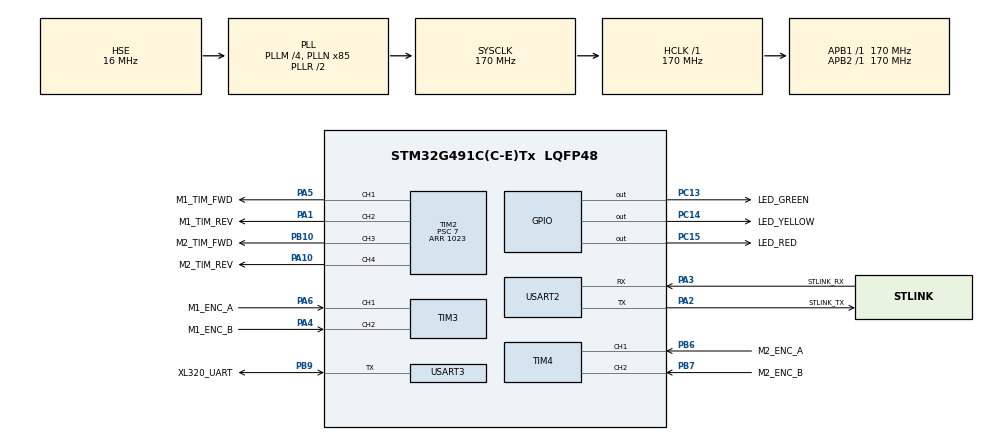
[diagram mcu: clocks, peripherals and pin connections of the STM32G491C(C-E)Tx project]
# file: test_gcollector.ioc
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Dma.Request0=USART3_TX
Dma.Request1=USART3_RX
Dma.USART3_RX.1.Direction=DMA_PERIPH_TO_MEMORY
Dma.USART3_RX.1.EventEnable=DISABLE
Dma.USART3_RX.1.Instance=DMA1_Channel2
Dma.USART3_RX.1.MemDataAlignment=DMA_MDATAALIGN_BYTE
Dma.USART3_RX.1.MemInc=DMA_MINC_ENABLE
Dma.USART3_RX.1.Mode=DMA_NORMAL
Dma.USART3_RX.1.PeriphDataAlignment=DMA_PDATAALIGN_BYTE
Dma.USART3_RX.1.PeriphInc=DMA_PINC_DISABLE
Dma.USART3_RX.1.Polarity=HAL_DMAMUX_REQ_GEN_RISING
Dma.USART3_RX.1.Priority=DMA_PRIORITY_LOW
Dma.USART3_RX.1.RequestNumber=1
Dma.USART3_RX.1.SignalID=NONE
Dma.USART3_RX.1.SyncEnable=DISABLE
Dma.USART3_RX.1.SyncPolarity=HAL_DMAMUX_SYNC_NO_EVENT
Dma.USART3_RX.1.SyncRequestNumber=1
Dma.USART3_RX.1.SyncSignalID=NONE
Dma.USART3_TX.0.Direction=DMA_MEMORY_TO_PERIPH
Dma.USART3_TX.0.EventEnable=DISABLE
Dma.USART3_TX.0.Instance=DMA1_Channel1
Dma.USART3_TX.0.MemDataAlignment=DMA_MDATAALIGN_BYTE
Dma.USART3_TX.0.MemInc=DMA_MINC_ENABLE
Dma.USART3_TX.0.Mode=DMA_NORMAL
Dma.USART3_TX.0.PeriphDataAlignment=DMA_PDATAALIGN_BYTE
Dma.USART3_TX.0.PeriphInc=DMA_PINC_DISABLE
Dma.USART3_TX.0.Polarity=HAL_DMAMUX_REQ_GEN_RISING
Dma.USART3_TX.0.Priority=DMA_PRIORITY_LOW
Dma.USART3_TX.0.RequestNumber=1
Dma.USART3_TX.0.SignalID=NONE
Dma.USART3_TX.0.SyncEnable=DISABLE
Dma.USART3_TX.0.SyncPolarity=HAL_DMAMUX_SYNC_NO_EVENT
Dma.USART3_TX.0.SyncRequestNumber=1
Dma.USART3_TX.0.SyncSignalID=NONE
FREERTOS.Tasks01=xl320,24,128,start_xl320_task,Default,NULL,Dynamic,NULL,NULL;shell,8,512,start_shell_task,Default,NULL,Dynamic,NULL,NULL;motors,8,128,start_motor_task,Default,NULL,Dynamic,NULL,NULL;qei,8,512,start_qei_task,Default,NULL,Dynamic,NULL,NULL
FREERTOS.configTOTAL_HEAP_SIZE=10240
Mcu.Family=STM32G4
Mcu.Name=STM32G491C(C-E)Tx
Mcu.Package=LQFP48
NVIC.DMA1_Channel1_IRQn=true\:5\:0\:false\:false\:true\:true\:false\:true\:true
NVIC.DMA1_Channel2_IRQn=true\:5\:0\:false\:false\:true\:true\:false\:true\:true
NVIC.PriorityGroup=NVIC_PRIORITYGROUP_4
NVIC.USART3_IRQn=true\:5\:0\:false\:false\:true\:true\:true\:true\:true
PA1.GPIO_Label=M1_TIM_REV
PA1.Signal=S_TIM2_CH2
PA10.GPIO_Label=M2_TIM_REV
PA10.Signal=S_TIM2_CH4
PA13.Mode=Trace_Asynchronous_SW
PA13.Signal=SYS_JTMS-SWDIO
PA14.Mode=Trace_Asynchronous_SW
PA14.Signal=SYS_JTCK-SWCLK
PA2.GPIO_Label=STLINK_TX
PA2.Mode=Asynchronous
PA2.Signal=USART2_TX
PA3.GPIO_Label=STLINK_RX
PA3.Mode=Asynchronous
PA3.Signal=USART2_RX
PA4.GPIO_Label=M1_ENC_B
PA4.Signal=S_TIM3_CH2
PA5.GPIO_Label=M1_TIM_FWD
PA5.Signal=S_TIM2_CH1
PA6.GPIO_Label=M1_ENC_A
PA6.Signal=S_TIM3_CH1
PB10.GPIO_Label=M2_TIM_FWD
PB10.Signal=S_TIM2_CH3
PB3.Mode=Trace_Asynchronous_SW
PB3.Signal=SYS_JTDO-SWO
PB6.GPIO_Label=M2_ENC_A
PB6.Signal=S_TIM4_CH1
PB7.GPIO_Label=M2_ENC_B
PB7.Signal=S_TIM4_CH2
PB9.GPIO_Label=XL320_UART
PB9.GPIO_ModeDefaultOD=GPIO_MODE_AF_PP
PB9.GPIO_Speed=GPIO_SPEED_FREQ_VERY_HIGH
PB9.Mode=Half_duplex(single_wire_mode)
PB9.Signal=USART3_TX
PC13.GPIO_Label=LED_GREEN
PC13.Signal=GPIO_Output
PC14-OSC32_IN.GPIO_Label=LED_YELLOW
PC14-OSC32_IN.Signal=GPIO_Output
PC15-OSC32_OUT.GPIO_Label=LED_RED
PC15-OSC32_OUT.Signal=GPIO_Output
PF0-OSC_IN.Mode=HSE-External-Oscillator
PF0-OSC_IN.Signal=RCC_OSC_IN
PF1-OSC_OUT.Mode=HSE-External-Oscillator
PF1-OSC_OUT.Signal=RCC_OSC_OUT
ProjectManager.HeapSize=0x200
ProjectManager.StackSize=0x400
ProjectManager.TargetToolchain=STM32CubeIDE
RCC.ADC12Freq_Value=170000000
RCC.ADC345Freq_Value=170000000
RCC.AHBFreq_Value=170000000
RCC.APB1Freq_Value=170000000
RCC.APB1TimFreq_Value=170000000
RCC.APB2Freq_Value=170000000
RCC.APB2TimFreq_Value=170000000
RCC.CortexFreq_Value=170000000
RCC.EXTERNAL_CLOCK_VALUE=12288000
RCC.HCLKFreq_Value=170000000
RCC.HSE_VALUE=16000000
RCC.HSI48_VALUE=48000000
RCC.HSI_VALUE=16000000
RCC.LSE_VALUE=32768
RCC.PLLM=RCC_PLLM_DIV4
RCC.PLLN=85
RCC.PLLSourceVirtual=RCC_PLLSOURCE_HSE
RCC.SYSCLKFreq_VALUE=170000000
RCC.SYSCLKSource=RCC_SYSCLKSOURCE_PLLCLK
RCC.USBFreq_Value=48000000
RCC.VCOOutputFreq_Value=340000000
SH.S_TIM2_CH1.0=TIM2_CH1,PWM Generation1 CH1
SH.S_TIM2_CH2.0=TIM2_CH2,PWM Generation2 CH2
SH.S_TIM2_CH3.0=TIM2_CH3,PWM Generation3 CH3
SH.S_TIM2_CH4.0=TIM2_CH4,PWM Generation4 CH4
SH.S_TIM3_CH1.0=TIM3_CH1,Encoder_Interface
SH.S_TIM3_CH2.0=TIM3_CH2,Encoder_Interface
SH.S_TIM4_CH1.0=TIM4_CH1,Encoder_Interface
SH.S_TIM4_CH2.0=TIM4_CH2,Encoder_Interface
TIM2.Channel-PWM\ Generation1\ CH1=TIM_CHANNEL_1
TIM2.Channel-PWM\ Generation2\ CH2=TIM_CHANNEL_2
TIM2.Channel-PWM\ Generation3\ CH3=TIM_CHANNEL_3
TIM2.Channel-PWM\ Generation4\ CH4=TIM_CHANNEL_4
TIM2.PeriodNoDither=1023
TIM2.Prescaler=7
USART2.VirtualMode-Asynchronous=VM_ASYNC
USART3.BaudRate=1000000
USART3.VirtualMode-Half_duplex(single_wire_mode)=VM_ASYNC
VP_FREERTOS_VS_CMSIS_V2.Mode=CMSIS_V2
VP_TIM2_VS_ClockSourceINT.Mode=Internal
board=custom

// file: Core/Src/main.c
/* USER CODE BEGIN Header */
/**
 ******************************************************************************
 * @file           : main.c
 * @brief          : Main program body
 ******************************************************************************
 * @attention
 *
 * Copyright (c) 2023 STMicroelectronics.
 * All rights reserved.
 *
 * This software is licensed under terms that can be found in the LICENSE file
 * in the root directory of this software component.
 * If no LICENSE file comes with this software, it is provided AS-IS.
 *
 ******************************************************************************
 */
/* USER CODE END Header */
#include "main.h"
#include "cmsis_os.h"
#include "dma.h"
#include "tim.h"
#include "usart.h"
#include "gpio.h"

/* USER CODE BEGIN Includes */
#include <stdio.h>
/* USER CODE END Includes */

void SystemClock_Config(void);
void MX_FREERTOS_Init(void);

/* USER CODE BEGIN 0 */
int _write(int file, char *ptr, int len)
{
	HAL_UART_Transmit(&huart2, (uint8_t*)ptr, len, HAL_MAX_DELAY);

	return len;
}

unsigned short update_crc(unsigned short crc_accum, unsigned char *data_blk_ptr, unsigned short data_blk_size)
{
	unsigned short i, j;
	unsigned short crc_table[256] = {
			0x0000, 0x8005, 0x800F, 0x000A, 0x801B, 0x001E, 0x0014, 0x8011,
			0x8033, 0x0036, 0x003C, 0x8039, 0x0028, 0x802D, 0x8027, 0x0022,
			0x8063, 0x0066, 0x006C, 0x8069, 0x0078, 0x807D, 0x8077, 0x0072,
			0x0050, 0x8055, 0x805F, 0x005A, 0x804B, 0x004E, 0x0044, 0x8041,
			0x80C3, 0x00C6, 0x00CC, 0x80C9, 0x00D8, 0x80DD, 0x80D7, 0x00D2,
			0x00F0, 0x80F5, 0x80FF, 0x00FA, 0x80EB, 0x00EE, 0x00E4, 0x80E1,
			0x00A0, 0x80A5, 0x80AF, 0x00AA, 0x80BB, 0x00BE, 0x00B4, 0x80B1,
			0x8093, 0x0096, 0x009C, 0x8099, 0x0088, 0x808D, 0x8087, 0x0082,
			0x8183, 0x0186, 0x018C, 0x8189, 0x0198, 0x819D, 0x8197, 0x0192,
			0x01B0, 0x81B5, 0x81BF, 0x01BA, 0x81AB, 0x01AE, 0x01A4, 0x81A1,
			0x01E0, 0x81E5, 0x81EF, 0x01EA, 0x81FB, 0x01FE, 0x01F4, 0x81F1,
			0x81D3, 0x01D6, 0x01DC, 0x81D9, 0x01C8, 0x81CD, 0x81C7, 0x01C2,
			0x0140, 0x8145, 0x814F, 0x014A, 0x815B, 0x015E, 0x0154, 0x8151,
			0x8173, 0x0176, 0x017C, 0x8179, 0x0168, 0x816D, 0x8167, 0x0162,
			0x8123, 0x0126, 0x012C, 0x8129, 0x0138, 0x813D, 0x8137, 0x0132,
			0x0110, 0x8115, 0x811F, 0x011A, 0x810B, 0x010E, 0x0104, 0x8101,
			0x8303, 0x0306, 0x030C, 0x8309, 0x0318, 0x831D, 0x8317, 0x0312,
			0x0330, 0x8335, 0x833F, 0x033A, 0x832B, 0x032E, 0x0324, 0x8321,
			0x0360, 0x8365, 0x836F, 0x036A, 0x837B, 0x037E, 0x0374, 0x8371,
			0x8353, 0x0356, 0x035C, 0x8359, 0x0348, 0x834D, 0x8347, 0x0342,
			0x03C0, 0x83C5, 0x83CF, 0x03CA, 0x83DB, 0x03DE, 0x03D4, 0x83D1,
			0x83F3, 0x03F6, 0x03FC, 0x83F9, 0x03E8, 0x83ED, 0x83E7, 0x03E2,
			0x83A3, 0x03A6, 0x03AC, 0x83A9, 0x03B8, 0x83BD, 0x83B7, 0x03B2,
			0x0390, 0x8395, 0x839F, 0x039A, 0x838B, 0x038E, 0x0384, 0x8381,
			0x0280, 0x8285, 0x828F, 0x028A, 0x829B, 0x029E, 0x0294, 0x8291,
			0x82B3, 0x02B6, 0x02BC, 0x82B9, 0x02A8, 0x82AD, 0x82A7, 0x02A2,
			0x82E3, 0x02E6, 0x02EC, 0x82E9, 0x02F8, 0x82FD, 0x82F7, 0x02F2,
			0x02D0, 0x82D5, 0x82DF, 0x02DA, 0x82CB, 0x02CE, 0x02C4, 0x82C1,
			0x8243, 0x0246, 0x024C, 0x8249, 0x0258, 0x825D, 0x8257, 0x0252,
			0x0270, 0x8275, 0x827F, 0x027A, 0x826B, 0x026E, 0x0264, 0x8261,
			0x0220, 0x8225, 0x822F, 0x022A, 0x823B, 0x023E, 0x0234, 0x8231,
			0x8213, 0x0216, 0x021C, 0x8219, 0x0208, 0x820D, 0x8207, 0x0202
	};

	for(j = 0; j < data_blk_size; j++)
	{
		i = ((unsigned short)(crc_accum >> 8) ^ data_blk_ptr[j]) & 0xFF;
		crc_accum = (crc_accum << 8) ^ crc_table[i];
	}

	return crc_accum;
}

void xl320_led_on(void)
{
	uint8_t buffer[13];
	buffer[0] = 0xFF;
	buffer[1] = 0xFF;
	buffer[2] = 0xFD;
	buffer[3] = 0x00;
	buffer[4] = 254;	// Broadcast
	buffer[5] = 6;		// Length = 3 param + 3
	buffer[6] = 0;		// Length H
	buffer[7] = 3;		// Write instruction
	buffer[8] = 25;		// Address = 25 (LED)
	buffer[9] = 0;		// Address H
	buffer[10] = 1;		// LED ON

	uint16_t crc = update_crc(0, buffer, 11);

	buffer[11] = crc & 0xFF;
	buffer[12] = (crc >> 8) & 0xFF;

	HAL_UART_Transmit(&huart3, buffer, 13, HAL_MAX_DELAY);
}

void xl320_led_off(void)
{
	uint8_t buffer[13];
	buffer[0] = 0xFF;
	buffer[1] = 0xFF;
	buffer[2] = 0xFD;
	buffer[3] = 0x00;
	buffer[4] = 254;	// Broadcast
	buffer[5] = 6;		// Length = 3 param + 3
	buffer[6] = 0;		// Length H
	buffer[7] = 3;		// Write instruction
	buffer[8] = 25;		// Address = 25 (LED)
	buffer[9] = 0;		// Address H
	buffer[10] = 0;		// LED OFF

	uint16_t crc = update_crc(0, buffer, 11);

	buffer[11] = crc & 0xFF;
	buffer[12] = (crc >> 8) & 0xFF;

	HAL_UART_Transmit(&huart3, buffer, 13, HAL_MAX_DELAY);
}
/* USER CODE END 0 */

int main(void)
{

  /* MCU Configuration--------------------------------------------------------*/

  /* Reset of all peripherals, Initializes the Flash interface and the Systick. */
  HAL_Init();

  /* Configure the system clock */
  SystemClock_Config();

  /* Initialize all configured peripherals */
  MX_GPIO_Init();
  MX_DMA_Init();
  MX_USART2_UART_Init();
  MX_USART3_UART_Init();
  MX_TIM2_Init();
  MX_TIM3_Init();
  MX_TIM4_Init();
  /* USER CODE BEGIN 2 */
	//	HAL_TIM_PWM_Start(&htim2, TIM_CHANNEL_1);
	//	HAL_GPIO_WritePin(M2_TIM_FWD_GPIO_Port, M2_TIM_FWD_Pin, GPIO_PIN_SET);

	//	DBGMCU->APB2FZ |= DBGMCU_APB2FZ_DBG_TIM16_STOP;
  /* USER CODE END 2 */

  /* Init scheduler */
  osKernelInitialize();  /* Call init function for freertos objects (in freertos.c) */
  MX_FREERTOS_Init();

  /* Start scheduler */
  osKernelStart();

  /* We should never get here as control is now taken by the scheduler */
  /* Infinite loop */
  /* USER CODE BEGIN WHILE */
	//	uint32_t counter = 0;
	//	uint16_t duty = 0;
	//	int8_t sign = 1;
	while (1)
	{
		//		if (duty == 1023)
		//		{
		//			sign = -1;
		//			HAL_GPIO_TogglePin(LED_RED_GPIO_Port, LED_RED_Pin);
		//		}
		//		if (duty == 0)
		//		{
		//			sign = +1;
		//			HAL_GPIO_TogglePin(LED_RED_GPIO_Port, LED_RED_Pin);
		//		}
		//		duty += sign;
		//		__HAL_TIM_SET_COMPARE(&htim2, TIM_CHANNEL_1, duty);
		//
		//		HAL_Delay(10);
		//		HAL_GPIO_TogglePin(LED_YELLOW_GPIO_Port, LED_YELLOW_Pin);
		//		if (counter % 2)
		//		{
		//			xl320_led_on();
		//		}
		//		else
		//		{
		//			xl320_led_off();
		//		}
		//		counter++;
		//
		//		HAL_GPIO_TogglePin(LED_GREEN_GPIO_Port, LED_GREEN_Pin);
		//		HAL_Delay(100);
		//		HAL_GPIO_TogglePin(LED_YELLOW_GPIO_Port, LED_YELLOW_Pin);
		//		HAL_Delay(100);
		//		HAL_GPIO_TogglePin(LED_RED_GPIO_Port, LED_RED_Pin);
		//		HAL_Delay(100);
    /* USER CODE END WHILE */

	}
}

void SystemClock_Config(void)
{
  RCC_OscInitTypeDef RCC_OscInitStruct = {0};
  RCC_ClkInitTypeDef RCC_ClkInitStruct = {0};

  /** Configure the main internal regulator output voltage
  */
  HAL_PWREx_ControlVoltageScaling(PWR_REGULATOR_VOLTAGE_SCALE1_BOOST);

  /** Initializes the RCC Oscillators according to the specified parameters
  * in the RCC_OscInitTypeDef structure.
  */
  RCC_OscInitStruct.OscillatorType = RCC_OSCILLATORTYPE_HSE;
  RCC_OscInitStruct.HSEState = RCC_HSE_ON;
  RCC_OscInitStruct.PLL.PLLState = RCC_PLL_ON;
  RCC_OscInitStruct.PLL.PLLSource = RCC_PLLSOURCE_HSE;
  RCC_OscInitStruct.PLL.PLLM = RCC_PLLM_DIV4;
  RCC_OscInitStruct.PLL.PLLN = 85;
  RCC_OscInitStruct.PLL.PLLP = RCC_PLLP_DIV2;
  RCC_OscInitStruct.PLL.PLLQ = RCC_PLLQ_DIV2;
  RCC_OscInitStruct.PLL.PLLR = RCC_PLLR_DIV2;
  if (HAL_RCC_OscConfig(&RCC_OscInitStruct) != HAL_OK)
  {
    Error_Handler();
  }

  /** Initializes the CPU, AHB and APB buses clocks
  */
  RCC_ClkInitStruct.ClockType = RCC_CLOCKTYPE_HCLK|RCC_CLOCKTYPE_SYSCLK
                              |RCC_CLOCKTYPE_PCLK1|RCC_CLOCKTYPE_PCLK2;
  RCC_ClkInitStruct.SYSCLKSource = RCC_SYSCLKSOURCE_PLLCLK;
  RCC_ClkInitStruct.AHBCLKDivider = RCC_SYSCLK_DIV1;
  RCC_ClkInitStruct.APB1CLKDivider = RCC_HCLK_DIV1;
  RCC_ClkInitStruct.APB2CLKDivider = RCC_HCLK_DIV1;

  if (HAL_RCC_ClockConfig(&RCC_ClkInitStruct, FLASH_LATENCY_4) != HAL_OK)
  {
    Error_Handler();
  }
}

void Error_Handler(void)
{
	__disable_irq();
	while (1)
	{
	}
}

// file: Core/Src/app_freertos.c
/* USER CODE BEGIN Header */
/**
 ******************************************************************************
 * File Name          : app_freertos.c
 * Description        : Code for freertos applications
 ******************************************************************************
 * @attention
 *
 * Copyright (c) 2023 STMicroelectronics.
 * All rights reserved.
 *
 * This software is licensed under terms that can be found in the LICENSE file
 * in the root directory of this software component.
 * If no LICENSE file comes with this software, it is provided AS-IS.
 *
 ******************************************************************************
 */
/* USER CODE END Header */

#include "FreeRTOS.h"
#include "task.h"
#include "main.h"
#include "cmsis_os.h"

/* USER CODE BEGIN Includes */
#include "usart.h"
#include "shell.h"
#include "tim.h"
#include <stdio.h>
#include <stdlib.h>
/* USER CODE END Includes */

/* Definitions for xl320 */
osThreadId_t xl320Handle;
const osThreadAttr_t xl320_attributes = {
		.name = "xl320",
		.priority = (osPriority_t) osPriorityNormal,
		.stack_size = 128 * 4
};
/* Definitions for shell */
osThreadId_t shellHandle;
const osThreadAttr_t shell_attributes = {
		.name = "shell",
		.priority = (osPriority_t) osPriorityLow,
		.stack_size = 512 * 4
};
/* Definitions for motors */
osThreadId_t motorsHandle;
const osThreadAttr_t motors_attributes = {
		.name = "motors",
		.priority = (osPriority_t) osPriorityLow,
		.stack_size = 128 * 4
};
/* Definitions for qei */
osThreadId_t qeiHandle;
const osThreadAttr_t qei_attributes = {
		.name = "qei",
		.priority = (osPriority_t) osPriorityLow,
		.stack_size = 512 * 4
};

/* USER CODE BEGIN FunctionPrototypes */
int sh_motors(h_shell_t * h_shell, int argc, char ** argv);
int sh_qei(h_shell_t * h_shell, int argc, char ** argv);
/* USER CODE END FunctionPrototypes */

void start_xl320_task(void *argument);
void start_shell_task(void *argument);
void start_motor_task(void *argument);
void start_qei_task(void *argument);

void MX_FREERTOS_Init(void); /* (MISRA C 2004 rule 8.1) */

void MX_FREERTOS_Init(void) {

	/* Create the thread(s) */
	/* creation of xl320 */
	xl320Handle = osThreadNew(start_xl320_task, NULL, &xl320_attributes);

	/* creation of shell */
	shellHandle = osThreadNew(start_shell_task, NULL, &shell_attributes);

	/* creation of motors */
	motorsHandle = osThreadNew(start_motor_task, NULL, &motors_attributes);

	/* creation of qei */
	qeiHandle = osThreadNew(start_qei_task, NULL, &qei_attributes);

}

void start_xl320_task(void *argument)
{
	/* USER CODE BEGIN start_xl320_task */
	/* Infinite loop */
	for(;;)
	{
		HAL_GPIO_TogglePin(LED_RED_GPIO_Port, LED_RED_Pin);
		osDelay(100);
	}
	/* USER CODE END start_xl320_task */
}

/* USER CODE BEGIN Header_start_shell_task */
/**
 * @brief Function implementing the shell thread.
 * @param argument: Not used
 * @retval None
 */
static h_shell_t h_shell;

uint8_t drv_uart2_receive(char * pData, uint16_t size)
{
	HAL_UART_Receive(&huart2, (uint8_t*)(pData), size, HAL_MAX_DELAY);

	return 0;	// Life's too short for error management
}

uint8_t drv_uart2_transmit(const char * pData, uint16_t size)
{
	HAL_UART_Transmit(&huart2, (uint8_t*)pData, size, HAL_MAX_DELAY);

	return 0;	// Srsly, don't do that kids
}

/* USER CODE END Header_start_shell_task */
void start_shell_task(void *argument)
{
	/* USER CODE BEGIN start_shell_task */
	h_shell.drv.receive = drv_uart2_receive;
	h_shell.drv.transmit = drv_uart2_transmit;

	shell_init(&h_shell);

	shell_add(&h_shell, 'p', sh_motors, "Test the motors");
	shell_add(&h_shell, 'q', sh_qei, "Test the encoders");

	/* Infinite loop */
	for(;;)
	{
		shell_run(&h_shell);
	}
	/* USER CODE END start_shell_task */
}

/* USER CODE BEGIN Header_start_motor_task */
/**
 * @brief Function implementing the motors thread.
 * @param argument: Not used
 * @retval None
 */
#define TIM_CHANNEL_M1_REV TIM_CHANNEL_2
#define TIM_CHANNEL_M1_FWD TIM_CHANNEL_1
#define TIM_CHANNEL_M2_FWD TIM_CHANNEL_3
#define TIM_CHANNEL_M2_REV TIM_CHANNEL_4

int sh_motors(h_shell_t * h_shell, int argc, char ** argv) {
	if (argc == 4)
	{
		uint32_t duty = atoi(argv[3]);

		if ((duty >= 0) && (duty <= 1023))
		{
			if (argv[1][0] == '1')
			{
				if (argv[2][0] == 'f')
				{
					HAL_TIM_PWM_Start(&htim2, TIM_CHANNEL_M1_FWD);
					HAL_TIM_PWM_Stop(&htim2, TIM_CHANNEL_M1_REV);
					__HAL_TIM_SET_COMPARE(&htim2, TIM_CHANNEL_M1_FWD, duty);

					return 0;
				}
				else if (argv[2][0] == 'r')
				{
					HAL_TIM_PWM_Start(&htim2, TIM_CHANNEL_M1_REV);
					HAL_TIM_PWM_Stop(&htim2, TIM_CHANNEL_M1_FWD);
					__HAL_TIM_SET_COMPARE(&htim2, TIM_CHANNEL_M1_REV, duty);

					return 0;
				}
			}
			else if (argv[1][0] == '2')
			{
				if (argv[2][0] == 'f')
				{
					HAL_TIM_PWM_Start(&htim2, TIM_CHANNEL_M2_FWD);
					HAL_TIM_PWM_Stop(&htim2, TIM_CHANNEL_M2_REV);
					__HAL_TIM_SET_COMPARE(&htim2, TIM_CHANNEL_M2_FWD, duty);

					return 0;
				}
				else if (argv[2][0] == 'r')
				{
					HAL_TIM_PWM_Start(&htim2, TIM_CHANNEL_M2_REV);
					HAL_TIM_PWM_Stop(&htim2, TIM_CHANNEL_M2_FWD);
					__HAL_TIM_SET_COMPARE(&htim2, TIM_CHANNEL_M2_REV, duty);

					return 0;
				}
			}
		}
	}

	uint16_t size = snprintf (h_shell->print_buffer, SHELL_PRINT_BUFFER_SIZE, "Error: Usage %c <1|2> <f|r> <0-1023>\r\n", argv[0][0]);
	h_shell->drv.transmit(h_shell->print_buffer, size);

	return -1;
}
/* USER CODE END Header_start_motor_task */
void start_motor_task(void *argument)
{
	for(;;)
	{
		osDelay(1);
	}
}

/* USER CODE BEGIN Header_start_qei_task */
/**
 * @brief Function implementing the qei thread.
 * @param argument: Not used
 * @retval None
 */

int sh_qei(h_shell_t * h_shell, int argc, char ** argv) {
	int16_t qei1 = __HAL_TIM_GET_COMPARE(&htim3, TIM_CHANNEL_1);
	int16_t qei2 = __HAL_TIM_GET_COMPARE(&htim4, TIM_CHANNEL_1);
	uint16_t size = snprintf (h_shell->print_buffer, SHELL_PRINT_BUFFER_SIZE, "QEI1 = %hd ; QEI2 = %hd\r\n", qei1, qei2);
	h_shell->drv.transmit(h_shell->print_buffer, size);

	return 0;
}
/* USER CODE END Header_start_qei_task */

void start_qei_task(void *argument)
{
	/* USER CODE BEGIN start_qei_task */

	HAL_TIM_Encoder_Start(&htim3, TIM_CHANNEL_1);
	HAL_TIM_Encoder_Start(&htim4, TIM_CHANNEL_1);

	/* Infinite loop */
	for(;;)
	{
		osDelay(1);
	}
	/* USER CODE END start_qei_task */
}
